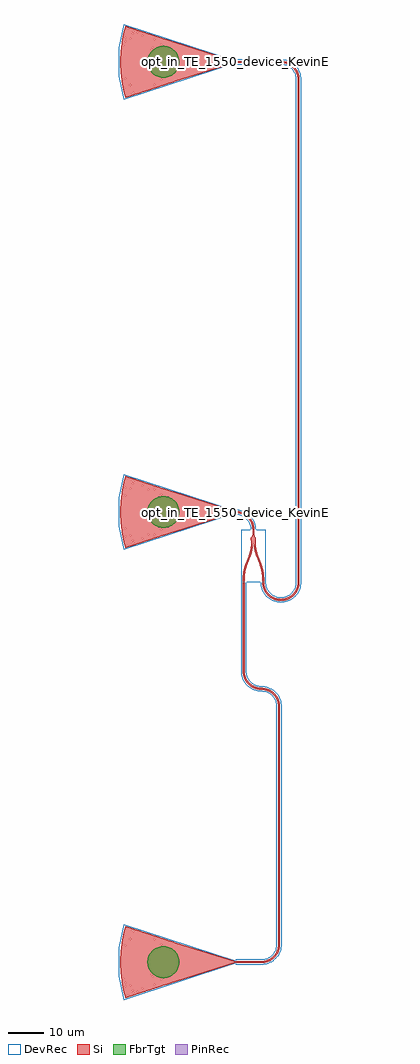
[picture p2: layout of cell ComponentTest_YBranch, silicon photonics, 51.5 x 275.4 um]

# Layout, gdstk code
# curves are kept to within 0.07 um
from math import pi, radians
import gdstk
lib = gdstk.Library(unit=1e-6, precision=1e-09)
def R(c, l, rs):  # rectangles x0, y0, x1, y1
    for r in rs: c.add(gdstk.rectangle(r[:2], r[2:], *l))
def P(c, l, *ps):  # polygons
    for p in ps: c.add(gdstk.Polygon(p, *l))
Si = (1, 0)
PinRec = (1, 10)
DevRec = (68, 0)
FbrTgt = (81, 0)

te1550_subgc_neg31_oxide = lib.new_cell('TE1550_SubGC_neg31_oxide')
P(te1550_subgc_neg31_oxide, Si, [(-17.556,-5.704),(-17.743,-4.914),(-17.881,-4.233),(-18.016,-3.437),(-18.095,-2.866),(-18.165,-2.237),(-18.222,-1.549),(-18.256,-0.918),(-18.274,-0.115),(-18.264,0.689),(-18.233,1.377),(-18.176,2.122),(-18.095,2.866),(-18.016,3.437),(-17.881,4.233),(-17.743,4.914),(-17.556,5.704),(-17.481,5.68),(-17.643,5.006),(-17.784,4.329),(-17.922,3.536),(-18.032,2.74),(-18.104,2.056),(-18.148,1.486),(-18.186,0.686),(-18.196,0.114),(-18.189,-0.572),(-18.165,-1.2),(-18.123,-1.828),(-18.058,-2.512),(-17.948,-3.365),(-17.826,-4.102),(-17.668,-4.893),(-17.481,-5.68)],
  [(-17.906,-5.818),(-18.207,-4.492),(-18.452,-2.982),(-18.601,-1.405),(-18.643,-0.117),(-18.601,1.405),(-18.452,2.982),(-18.207,4.492),(-17.906,5.818),(-17.659,5.738),(-17.932,4.544),(-18.188,2.998),(-18.338,1.443),(-18.383,0.116),(-18.338,-1.443),(-18.188,-2.998),(-17.932,-4.544),(-17.659,-5.738)],
  [(-18.084,-5.876),(-18.24,-5.237),(-18.4,-4.479),(-18.525,-3.776),(-18.629,-3.071),(-18.717,-2.305),(-18.772,-1.656),(-18.811,-0.946),(-18.83,-0.118),(-18.823,0.592),(-18.791,1.36),(-18.739,2.069),(-18.644,2.953),(-18.544,3.658),(-18.4,4.479),(-18.24,5.237),(-18.084,5.876),(-18.01,5.852),(-18.204,5.041),(-18.368,4.227),(-18.503,3.409),(-18.609,2.589),(-18.713,1.354),(-18.745,0.589),(-18.752,0.118),(-18.745,-0.589),(-18.713,-1.354),(-18.609,-2.589),(-18.503,-3.409),(-18.368,-4.227),(-18.204,-5.041),(-18.01,-5.852)],
  [(-18.435,-5.99),(-18.77,-4.506),(-19.001,-3.071),(-19.135,-1.748),(-19.199,-0.121),(-19.159,1.387),(-19.001,3.071),(-18.77,4.506),(-18.435,5.99),(-18.188,5.91),(-18.517,4.445),(-18.744,3.029),(-18.896,1.427),(-18.939,0.119),(-18.896,-1.427),(-18.759,-2.911),(-18.517,-4.445),(-18.188,-5.91)],
  [(-18.613,-6.048),(-18.815,-5.211),(-18.963,-4.49),(-19.099,-3.705),(-19.201,-2.979),(-19.269,-2.373),(-19.338,-1.522),(-19.369,-0.913),(-19.386,-0.122),(-19.377,0.67),(-19.349,1.339),(-19.286,2.191),(-19.201,2.979),(-19.099,3.705),(-18.963,4.49),(-18.815,5.211),(-18.613,6.048),(-18.539,6.024),(-18.713,5.309),(-18.876,4.532),(-19.013,3.751),(-19.131,2.907),(-19.203,2.242),(-19.264,1.455),(-19.291,0.91),(-19.308,0.121),(-19.299,-0.667),(-19.271,-1.334),(-19.239,-1.819),(-19.166,-2.605),(-19.076,-3.329),(-18.91,-4.352),(-18.753,-5.13),(-18.539,-6.024)],
  [(-18.964,-6.162),(-19.262,-4.881),(-19.533,-3.283),(-19.689,-1.799),(-19.755,-0.124),(-19.717,1.365),(-19.573,2.974),(-19.334,4.513),(-18.964,6.162),(-18.717,6.081),(-19.046,4.636),(-19.301,3.057),(-19.43,1.775),(-19.495,0.122),(-19.454,-1.408),(-19.301,-3.057),(-19.046,-4.636),(-18.717,-6.081)],
  [(-19.142,-6.22),(-19.337,-5.421),(-19.48,-4.742),(-19.625,-3.936),(-19.726,-3.251),(-19.808,-2.566),(-19.884,-1.691),(-19.924,-0.94),(-19.942,-0.125),(-19.934,0.626),(-19.9,1.44),(-19.833,2.316),(-19.758,3.002),(-19.635,3.874),(-19.516,4.556),(-19.337,5.421),(-19.142,6.22),(-19.068,6.195),(-19.289,5.277),(-19.44,4.538),(-19.587,3.673),(-19.696,2.866),(-19.772,2.12),(-19.822,1.435),(-19.853,0.749),(-19.864,0.125),(-19.853,-0.749),(-19.822,-1.435),(-19.772,-2.12),(-19.696,-2.866),(-19.587,-3.673),(-19.44,-4.538),(-19.289,-5.277),(-19.068,-6.195)],
  [(-19.493,-6.334),(-19.839,-4.829),(-20.107,-3.185),(-20.256,-1.658),(-20.311,-0.128),(-20.268,1.467),(-20.107,3.185),(-19.839,4.829),(-19.493,6.334),(-19.246,6.253),(-19.574,4.829),(-19.842,3.207),(-19.997,1.637),(-20.051,0.126),(-20.005,-1.511),(-19.866,-3.019),(-19.622,-4.581),(-19.246,-6.253)],
  [(-19.671,-6.391),(-19.843,-5.697),(-20.008,-4.937),(-20.149,-4.173),(-20.283,-3.278),(-20.379,-2.444),(-20.438,-1.738),(-20.482,-0.901),(-20.498,-0.129),(-20.482,0.901),(-20.438,1.738),(-20.379,2.444),(-20.283,3.278),(-20.149,4.173),(-20.008,4.937),(-19.843,5.697),(-19.671,6.391),(-19.597,6.367),(-19.797,5.55),(-20.005,4.538),(-20.153,3.648),(-20.246,2.946),(-20.325,2.179),(-20.373,1.539),(-20.404,0.898),(-20.42,0.128),(-20.412,-0.641),(-20.384,-1.347),(-20.336,-2.051),(-20.261,-2.819),(-20.153,-3.648),(-20.017,-4.474),(-19.825,-5.424),(-19.597,-6.367)],
  [(-20.022,-6.505),(-20.392,-4.896),(-20.656,-3.272),(-20.81,-1.704),(-20.867,-0.131),(-20.81,1.704),(-20.656,3.272),(-20.392,4.896),(-20.022,6.505),(-19.774,6.425),(-20.139,4.835),(-20.382,3.36),(-20.542,1.812),(-20.607,0.129),(-20.567,-1.424),(-20.399,-3.231),(-20.139,-4.835),(-19.774,-6.425)],
  [(-20.199,-6.563),(-20.437,-5.591),(-20.599,-4.809),(-20.726,-4.089),(-20.832,-3.367),(-20.931,-2.511),(-20.992,-1.785),(-21.04,-0.86),(-21.054,-0.132),(-21.044,0.728),(-21.001,1.653),(-20.931,2.511),(-20.849,3.235),(-20.726,4.089),(-20.599,4.809),(-20.437,5.591),(-20.199,6.563),(-20.125,6.539),(-20.347,5.635),(-20.523,4.791),(-20.67,3.943),(-20.804,2.961),(-20.878,2.239),(-20.923,1.647),(-20.962,0.857),(-20.976,0.132),(-20.966,-0.725),(-20.935,-1.449),(-20.878,-2.239),(-20.804,-2.961),(-20.67,-3.943),(-20.523,-4.791),(-20.347,-5.635),(-20.125,-6.539)],
  [(-20.55,-6.677),(-20.906,-5.158),(-21.205,-3.359),(-21.355,-1.883),(-21.423,-0.135),(-21.373,1.615),(-21.205,3.359),(-20.906,5.158),(-20.55,6.677),(-20.303,6.597),(-20.705,4.833),(-20.957,3.252),(-21.105,1.728),(-21.163,0.133),(-21.105,-1.728),(-20.957,-3.252),(-20.705,-4.833),(-20.303,-6.597)],
  [(-20.728,-6.735),(-20.912,-6.004),(-21.101,-5.136),(-21.249,-4.331),(-21.372,-3.523),(-21.483,-2.577),(-21.546,-1.832),(-21.593,-0.95),(-21.61,-0.136),(-21.593,0.95),(-21.555,1.696),(-21.483,2.577),(-21.39,3.388),(-21.249,4.331),(-21.101,5.136),(-20.912,6.004),(-20.728,6.735),(-20.654,6.711),(-20.868,5.85),(-21.025,5.118),(-21.195,4.181),(-21.33,3.241),(-21.412,2.5),(-21.473,1.758),(-21.515,0.947),(-21.532,0.135),(-21.525,-0.609),(-21.497,-1.352),(-21.448,-2.095),(-21.37,-2.904),(-21.237,-3.913),(-21.077,-4.85),(-20.868,-5.85),(-20.654,-6.711)],
  [(-21.079,-6.849),(-21.432,-5.359),(-21.736,-3.583),(-21.923,-1.725),(-21.979,-0.138),(-21.923,1.725),(-21.772,3.308),(-21.473,5.155),(-21.079,6.849),(-20.832,6.769),(-21.207,5.162),(-21.47,3.608),(-21.664,1.705),(-21.719,0.136),(-21.664,-1.705),(-21.515,-3.269),(-21.207,-5.162),(-20.832,-6.769)],
  [(-21.257,-6.907),(-21.494,-5.953),(-21.655,-5.199),(-21.817,-4.304),(-21.93,-3.544),(-22.042,-2.574),(-22.105,-1.81),(-22.146,-1.044),(-22.166,-0.139),(-22.159,0.627),(-22.114,1.67),(-22.042,2.574),(-21.957,3.336),(-21.817,4.304),(-21.655,5.199),(-21.494,5.953),(-21.257,6.907),(-21.183,6.883),(-21.419,5.932),(-21.606,5.044),(-21.773,4.083),(-21.888,3.256),(-21.971,2.495),(-22.036,1.665),(-22.073,0.902),(-22.088,0.139),(-22.081,-0.624),(-22.052,-1.387),(-22.001,-2.149),(-21.905,-3.117),(-21.773,-4.083),(-21.606,-5.044),(-21.419,-5.932),(-21.183,-6.883)],
  [(-21.608,-7.021),(-21.985,-5.425),(-22.294,-3.603),(-22.482,-1.698),(-22.535,-0.142),(-22.482,1.698),(-22.294,3.603),(-21.985,5.425),(-21.608,7.021),(-21.361,6.941),(-21.761,5.224),(-22.028,3.631),(-22.218,1.749),(-22.275,0.14),(-22.227,-1.609),(-22.073,-3.283),(-21.788,-5.086),(-21.361,-6.941)],
  [(-21.786,-7.079),(-21.964,-6.381),(-22.167,-5.469),(-22.302,-4.765),(-22.469,-3.704),(-22.565,-2.923),(-22.649,-1.997),(-22.704,-0.999),(-22.722,-0.143),(-22.713,0.714),(-22.677,1.57),(-22.601,2.567),(-22.488,3.562),(-22.374,4.341),(-22.195,5.329),(-22.03,6.101),(-21.786,7.079),(-21.712,7.055),(-21.922,6.22),(-22.161,5.1),(-22.308,4.256),(-22.447,3.267),(-22.53,2.487),(-22.586,1.778),(-22.626,0.996),(-22.644,0.142),(-22.635,-0.711),(-22.595,-1.635),(-22.53,-2.487),(-22.447,-3.267),(-22.308,-4.256),(-22.161,-5.1),(-21.922,-6.22),(-21.712,-7.055)],
  [(-22.137,-7.193),(-22.54,-5.486),(-22.843,-3.692),(-23.011,-2.102),(-23.091,-0.145),(-23.045,1.595),(-22.862,3.547),(-22.54,5.486),(-22.137,7.193),(-21.89,7.112),(-22.287,5.425),(-22.596,3.579),(-22.777,1.721),(-22.831,0.143),(-22.777,-1.721),(-22.596,-3.579),(-22.287,-5.425),(-21.89,-7.112)],
  [(-22.315,-7.25),(-22.549,-6.321),(-22.736,-5.458),(-22.895,-4.592),(-23.047,-3.576),(-23.139,-2.776),(-23.218,-1.827),(-23.262,-0.951),(-23.278,-0.146),(-23.262,0.951),(-23.218,1.827),(-23.139,2.776),(-23.047,3.576),(-22.895,4.592),(-22.736,5.458),(-22.549,6.321),(-22.315,7.25),(-22.24,7.226),(-22.457,6.372),(-22.646,5.512),(-22.843,4.432),(-22.979,3.492),(-23.076,2.621),(-23.145,1.748),(-23.184,0.947),(-23.2,0.146),(-23.194,-0.583),(-23.158,-1.53),(-23.102,-2.33),(-23.006,-3.274),(-22.899,-4.071),(-22.73,-5.081),(-22.507,-6.157),(-22.24,-7.226)],
  [(-22.666,-7.364),(-23.095,-5.545),(-23.392,-3.78),(-23.581,-1.93),(-23.647,-0.149),(-23.586,1.856),(-23.421,3.559),(-23.095,5.545),(-22.666,7.364),(-22.418,7.284),(-22.842,5.484),(-23.145,3.666),(-23.311,2.056),(-23.387,0.147),(-23.336,-1.689),(-23.145,-3.666),(-22.842,-5.484),(-22.418,-7.284)],
  [(-22.843,-7.422),(-23.067,-6.545),(-23.262,-5.662),(-23.441,-4.701),(-23.556,-3.959),(-23.691,-2.842),(-23.762,-2.02),(-23.815,-1.048),(-23.834,-0.15),(-23.82,0.898),(-23.782,1.721),(-23.713,2.618),(-23.606,3.587),(-23.441,4.701),(-23.277,5.588),(-23.067,6.545),(-22.843,7.422),(-22.769,7.398),(-22.992,6.523),(-23.201,5.57),(-23.389,4.538),(-23.538,3.501),(-23.642,2.535),(-23.704,1.716),(-23.742,0.895),(-23.756,0.149),(-23.742,-0.895),(-23.704,-1.716),(-23.642,-2.535),(-23.565,-3.278),(-23.401,-4.464),(-23.23,-5.423),(-22.992,-6.523),(-22.769,-7.398)],
  [(-23.194,-7.536),(-23.605,-5.824),(-23.951,-3.793),(-24.135,-1.976),(-24.203,-0.152),(-24.15,1.748),(-23.961,3.718),(-23.605,5.824),(-23.194,7.536),(-22.947,7.456),(-23.368,5.688),(-23.684,3.827),(-23.876,1.955),(-23.943,0.15),(-23.886,-1.804),(-23.704,-3.678),(-23.383,-5.614),(-22.947,-7.456)],
  [(-23.372,-7.594),(-23.602,-6.696),(-23.802,-5.793),(-23.96,-4.962),(-24.115,-3.975),(-24.219,-3.137),(-24.316,-2.067),(-24.373,-0.996),(-24.39,-0.153),(-24.373,0.996),(-24.316,2.067),(-24.219,3.137),(-24.115,3.975),(-23.96,4.962),(-23.802,5.793),(-23.602,6.696),(-23.372,7.594),(-23.298,7.57),(-23.562,6.525),(-23.801,5.399),(-23.971,4.417),(-24.088,3.583),(-24.188,2.67),(-24.249,1.908),(-24.295,0.993),(-24.312,0.153),(-24.3,-0.84),(-24.263,-1.68),(-24.195,-2.594),(-24.088,-3.583),(-23.971,-4.417),(-23.801,-5.399),(-23.562,-6.525),(-23.298,-7.57)],
  [(-23.723,-7.708),(-24.145,-5.957),(-24.479,-4.035),(-24.678,-2.176),(-24.759,-0.156),(-24.709,1.71),(-24.5,3.88),(-24.145,5.957),(-23.723,7.708),(-23.476,7.628),(-23.908,5.819),(-24.233,3.916),(-24.43,2),(-24.499,0.154),(-24.43,-2),(-24.233,-3.916),(-23.908,-5.819),(-23.476,-7.628)],
  [(-23.901,-7.766),(-24.137,-6.848),(-24.358,-5.848),(-24.518,-4.997),(-24.674,-3.987),(-24.779,-3.13),(-24.87,-2.115),(-24.916,-1.332),(-24.946,-0.157),(-24.931,0.94),(-24.891,1.802),(-24.803,2.896),(-24.695,3.832),(-24.531,4.92),(-24.358,5.848),(-24.137,6.848),(-23.901,7.766),(-23.827,7.742),(-24.098,6.674),(-24.313,5.676),(-24.493,4.672),(-24.638,3.665),(-24.733,2.809),(-24.803,1.952),(-24.848,1.094),(-24.868,0.156),(-24.858,-0.781),(-24.818,-1.718),(-24.733,-2.809),(-24.638,-3.665),(-24.493,-4.672),(-24.313,-5.676),(-24.098,-6.674),(-23.827,-7.742)],
  [(-24.252,-7.88),(-24.717,-5.934),(-25.049,-3.967),(-25.232,-2.225),(-25.315,-0.159),(-25.259,1.828),(-25.07,3.809),(-24.717,5.934),(-24.252,7.88),(-24.005,7.8),(-24.464,5.873),(-24.782,4.005),(-24.973,2.202),(-25.055,0.157),(-25.009,-1.652),(-24.803,-3.848),(-24.464,-5.873),(-24.005,-7.8)],
  [(-24.43,-7.938),(-24.709,-6.843),(-24.866,-6.135),(-25.049,-5.187),(-25.234,-3.997),(-25.339,-3.12),(-25.424,-2.162),(-25.478,-1.202),(-25.502,-0.16),(-25.489,0.881),(-25.435,2.002),(-25.339,3.12),(-25.234,3.997),(-25.049,5.187),(-24.866,6.135),(-24.709,6.843),(-24.43,7.938),(-24.356,7.914),(-24.634,6.822),(-24.839,5.881),(-25,5.014),(-25.178,3.826),(-25.278,2.952),(-25.352,2.075),(-25.397,1.278),(-25.424,0.16),(-25.409,-0.958),(-25.377,-1.677),(-25.293,-2.792),(-25.198,-3.667),(-25.052,-4.697),(-24.839,-5.881),(-24.634,-6.822),(-24.356,-7.914)],
  [(-24.781,-8.052),(-25.241,-6.144),(-25.576,-4.216),(-25.803,-2.031),(-25.871,-0.163),(-25.803,2.031),(-25.609,3.974),(-25.274,5.984),(-24.781,8.052),(-24.533,7.971),(-24.972,6.161),(-25.308,4.253),(-25.544,2.01),(-25.611,0.161),(-25.544,-2.01),(-25.352,-3.934),(-25.021,-5.924),(-24.533,-7.971)],
  [(-24.959,-8.11),(-25.187,-7.232),(-25.423,-6.188),(-25.635,-5.057),(-25.772,-4.165),(-25.891,-3.188),(-25.984,-2.127),(-26.03,-1.31),(-26.058,-0.164),(-26.045,0.9),(-25.995,1.964),(-25.891,3.188),(-25.794,4.002),(-25.635,5.057),(-25.423,6.188),(-25.187,7.232),(-24.959,8.11),(-24.884,8.085),(-25.15,7.051),(-25.38,6.009),(-25.572,4.961),(-25.738,3.828),(-25.846,2.853),(-25.917,1.958),(-25.967,0.898),(-25.98,0.163),(-25.967,-0.898),(-25.932,-1.713),(-25.868,-2.609),(-25.768,-3.585),(-25.624,-4.638),(-25.412,-5.848),(-25.207,-6.811),(-24.884,-8.085)],
  [(-25.31,-8.224),(-25.815,-6.112),(-26.136,-4.224),(-26.357,-2.074),(-26.427,-0.166),(-26.368,1.909),(-26.18,3.894),(-25.815,6.112),(-25.31,8.224),(-25.062,8.143),(-25.512,6.295),(-25.868,4.264),(-26.098,2.054),(-26.167,0.164),(-26.123,-1.644),(-25.923,-3.856),(-25.562,-6.052),(-25.062,-8.143)],
  [(-25.487,-8.281),(-25.761,-7.222),(-25.946,-6.402),(-26.152,-5.33),(-26.321,-4.254),(-26.451,-3.173),(-26.532,-2.256),(-26.589,-1.254),(-26.614,-0.167),(-26.598,1.003),(-26.538,2.172),(-26.451,3.173),(-26.321,4.254),(-26.152,5.33),(-25.946,6.402),(-25.761,7.222),(-25.487,8.281),(-25.413,8.257),(-25.686,7.201),(-25.921,6.137),(-26.118,5.067),(-26.288,3.91),(-26.374,3.164),(-26.466,2.083),(-26.511,1.25),(-26.536,0.167),(-26.525,-0.834),(-26.482,-1.833),(-26.406,-2.831),(-26.288,-3.91),(-26.118,-5.067),(-25.921,-6.137),(-25.686,-7.201),(-25.413,-8.257)],
  [(-25.838,-8.395),(-26.339,-6.323),(-26.685,-4.312),(-26.887,-2.456),(-26.983,-0.17),(-26.917,2.033),(-26.708,4.144),(-26.356,6.24),(-25.838,8.395),(-25.591,8.315),(-26.086,6.263),(-26.44,4.188),(-26.658,2.014),(-26.723,0.168),(-26.658,-2.014),(-26.44,-4.188),(-26.086,-6.263),(-25.591,-8.315)],
  [(-26.016,-8.453),(-26.256,-7.539),(-26.503,-6.451),(-26.697,-5.441),(-26.858,-4.427),(-26.976,-3.494),(-27.086,-2.303),(-27.144,-1.28),(-27.17,-0.085),(-27.156,0.939),(-27.098,2.133),(-27.012,3.154),(-26.893,4.173),(-26.726,5.272),(-26.538,6.283),(-26.256,7.539),(-26.016,8.453),(-25.942,8.429),(-26.261,7.184),(-26.479,6.181),(-26.664,5.173),(-26.838,3.992),(-26.943,3.06),(-27.026,2.042),(-27.078,0.936),(-27.092,0.085),(-27.078,-0.936),(-27.026,-2.042),(-26.943,-3.06),(-26.838,-3.992),(-26.664,-5.173),(-26.479,-6.181),(-26.261,-7.184),(-25.942,-8.429)],
  [(-26.367,-8.567),(-26.897,-6.368),(-27.246,-4.315),(-27.466,-2.162),(-27.539,-0.087),(-27.466,2.162),(-27.246,4.315),(-26.897,6.368),(-26.367,8.567),(-26.12,8.487),(-26.644,6.308),(-26.989,4.275),(-27.218,1.97),(-27.279,0.086),(-27.218,-1.97),(-26.989,-4.275),(-26.644,-6.308),(-26.12,-8.487)],
  [(-26.545,-8.625),(-26.832,-7.522),(-27.079,-6.411),(-27.286,-5.294),(-27.442,-4.258),(-27.573,-3.132),(-27.658,-2.089),(-27.712,-0.958),(-27.726,-0.087),(-27.712,0.958),(-27.658,2.089),(-27.573,3.132),(-27.442,4.258),(-27.286,5.294),(-27.079,6.411),(-26.832,7.522),(-26.545,8.625),(-26.471,8.601),(-26.777,7.416),(-27.003,6.393),(-27.195,5.365),(-27.365,4.246),(-27.487,3.209),(-27.586,1.997),(-27.634,0.955),(-27.648,0.087),(-27.634,-0.955),(-27.586,-1.997),(-27.52,-2.863),(-27.42,-3.815),(-27.265,-4.935),(-27.071,-6.051),(-26.817,-7.246),(-26.63,-8.01),(-26.471,-8.601)],
  [(-26.896,-8.739),(-27.402,-6.67),(-27.783,-4.49),(-28.014,-2.293),(-28.095,-0.088),(-28.026,2.117),(-27.807,4.315),(-27.438,6.496),(-26.896,8.739),(-26.649,8.659),(-27.185,6.436),(-27.55,4.275),(-27.761,2.185),(-27.835,0.087),(-27.761,-2.185),(-27.55,-4.275),(-27.185,-6.436),(-26.649,-8.659)],
  [(-27.074,-8.797),(-27.346,-7.759),(-27.602,-6.627),(-27.802,-5.576),(-27.955,-4.608),(-28.098,-3.46),(-28.194,-2.397),(-28.255,-1.332),(-28.282,-0.089),(-28.265,1.066),(-28.218,2.042),(-28.134,3.106),(-28.015,4.167),(-27.832,5.4),(-27.62,6.539),(-27.346,7.759),(-27.074,8.797),(-27,8.773),(-27.292,7.651),(-27.544,6.521),(-27.77,5.297),(-27.949,4.067),(-28.048,3.186),(-28.129,2.214),(-28.184,1.152),(-28.204,0.089),(-28.187,-1.063),(-28.146,-1.948),(-28.073,-2.921),(-27.949,-4.067),(-27.77,-5.297),(-27.544,-6.521),(-27.292,-7.651),(-27,-8.773)],
  [(-27.425,-8.911),(-27.979,-6.624),(-28.344,-4.489),(-28.568,-2.339),(-28.651,-0.09),(-28.568,2.339),(-28.344,4.489),(-27.979,6.624),(-27.425,8.911),(-27.177,8.83),(-27.708,6.652),(-28.075,4.537),(-28.309,2.317),(-28.391,0.089),(-28.309,-2.317),(-28.075,-4.537),(-27.708,-6.652),(-27.177,-8.83)],
  [(-27.603,-8.969),(-27.881,-7.91),(-28.124,-6.845),(-28.347,-5.685),(-28.529,-4.518),(-28.678,-3.257),(-28.761,-2.264),(-28.814,-1.268),(-28.838,-0.091),(-28.826,0.906),(-28.761,2.264),(-28.678,3.257),(-28.529,4.518),(-28.347,5.685),(-28.124,6.845),(-27.881,7.91),(-27.603,8.969),(-27.528,8.944),(-27.806,7.889),(-28.085,6.649),(-28.316,5.402),(-28.476,4.327),(-28.582,3.428),(-28.677,2.348),(-28.736,1.265),(-28.76,0.09),(-28.748,-0.903),(-28.695,-2.077),(-28.609,-3.158),(-28.499,-4.147),(-28.331,-5.312),(-28.121,-6.472),(-27.87,-7.624),(-27.528,-8.944)],
  [(-27.953,-9.083),(-28.52,-6.752),(-28.893,-4.576),(-29.135,-2.201),(-29.207,-0.092),(-29.135,2.201),(-28.918,4.394),(-28.52,6.752),(-27.953,9.083),(-27.706,9.002),(-28.23,6.871),(-28.624,4.626),(-28.863,2.363),(-28.947,0.091),(-28.887,-2),(-28.649,-4.445),(-28.23,-6.871),(-27.706,-9.002)],
  [(-28.131,-9.14),(-28.416,-8.062),(-28.645,-7.068),(-28.86,-5.977),(-29.078,-4.605),(-29.221,-3.412),(-29.315,-2.307),(-29.373,-1.2),(-29.394,-0.092),(-29.373,1.2),(-29.315,2.307),(-29.221,3.412),(-29.078,4.605),(-28.86,5.977),(-28.645,7.068),(-28.416,8.062),(-28.131,9.14),(-28.057,9.116),(-28.363,7.951),(-28.663,6.596),(-28.892,5.323),(-29.061,4.136),(-29.179,3.036),(-29.255,2.025),(-29.301,1.013),(-29.316,0.092),(-29.301,-1.013),(-29.255,-2.025),(-29.179,-3.036),(-29.061,-4.136),(-28.892,-5.323),(-28.663,-6.596),(-28.363,-7.951),(-28.057,-9.116)],
  [(-28.482,-9.254),(-29.003,-7.156),(-29.416,-4.849),(-29.683,-2.336),(-29.763,-0.094),(-29.683,2.336),(-29.455,4.57),(-29.042,6.972),(-28.482,9.254),(-28.235,9.174),(-28.77,7.003),(-29.173,4.714),(-29.424,2.316),(-29.503,0.093),(-29.424,-2.316),(-29.173,-4.714),(-28.77,-7.003),(-28.235,-9.174)],
  [(-28.66,-9.312),(-28.928,-8.306),(-29.224,-7.016),(-29.421,-5.996),(-29.601,-4.879),(-29.733,-3.851),(-29.863,-2.445),(-29.925,-1.317),(-29.95,-0.094),(-29.937,0.941),(-29.882,2.163),(-29.792,3.289),(-29.64,4.599),(-29.437,5.904),(-29.224,7.016),(-28.928,8.306),(-28.66,9.312),(-28.586,9.288),(-28.898,8.101),(-29.148,6.998),(-29.393,5.703),(-29.563,4.587),(-29.696,3.467),(-29.798,2.251),(-29.847,1.314),(-29.872,0.094),(-29.862,-0.845),(-29.798,-2.251),(-29.696,-3.467),(-29.563,-4.587),(-29.393,-5.703),(-29.148,-6.998),(-28.898,-8.101),(-28.586,-9.288)],
  [(-29.011,-9.426),(-29.563,-7.196),(-29.965,-4.939),(-30.237,-2.38),(-30.319,-0.095),(-30.25,2.19),(-30.017,4.561),(-29.602,7.008),(-29.011,9.426),(-28.764,9.346),(-29.33,7.041),(-29.735,4.709),(-29.978,2.359),(-30.059,0.094),(-29.978,-2.359),(-29.735,-4.709),(-29.33,-7.041),(-28.764,-9.346)],
  [(-29.189,-9.484),(-29.554,-8.085),(-29.784,-7.052),(-29.999,-5.918),(-30.163,-4.874),(-30.295,-3.827),(-30.417,-2.49),(-30.484,-1.246),(-30.506,-0.096),(-30.484,1.246),(-30.417,2.49),(-30.295,3.827),(-30.163,4.874),(-29.999,5.918),(-29.784,7.052),(-29.554,8.085),(-29.189,9.484),(-29.115,9.46),(-29.456,8.158),(-29.708,7.034),(-29.97,5.62),(-30.125,4.577),(-30.248,3.532),(-30.346,2.388),(-30.406,1.242),(-30.428,0.096),(-30.406,-1.242),(-30.346,-2.388),(-30.248,-3.532),(-30.125,-4.577),(-29.97,-5.62),(-29.708,-7.034),(-29.456,-8.158),(-29.115,-9.46)],
  [(-29.54,-9.598),(-30.143,-7.137),(-30.554,-4.741),(-30.798,-2.327),(-30.875,-0.097),(-30.798,2.327),(-30.554,4.741),(-30.143,7.137),(-29.54,9.598),(-29.293,9.518),(-29.89,7.077),(-30.284,4.796),(-30.539,2.307),(-30.615,0.096),(-30.539,-2.307),(-30.284,-4.796),(-29.89,-7.077),(-29.293,-9.518)],
  [(-29.718,-9.656),(-29.997,-8.613),(-30.285,-7.371),(-30.493,-6.315),(-30.712,-4.963),(-30.857,-3.8),(-30.964,-2.633),(-31.036,-1.366),(-31.062,-0.098),(-31.046,1.073),(-30.991,2.243),(-30.897,3.411),(-30.752,4.673),(-30.561,5.929),(-30.345,7.084),(-30.044,8.422),(-29.718,9.656),(-29.643,9.632),(-29.969,8.401),(-30.269,7.066),(-30.501,5.818),(-30.7,4.468),(-30.829,3.306),(-30.907,2.335),(-30.965,1.168),(-30.984,0.097),(-30.965,-1.168),(-30.907,-2.335),(-30.829,-3.306),(-30.7,-4.468),(-30.501,-5.818),(-30.269,-7.066),(-29.969,-8.401),(-29.643,-9.632)],
  [(-30.069,-9.77),(-30.664,-7.362),(-31.09,-4.924),(-31.346,-2.467),(-31.431,-0.099),(-31.346,2.467),(-31.09,4.924),(-30.664,7.362),(-30.069,9.77),(-29.821,9.69),(-30.411,7.301),(-30.833,4.883),(-31.093,2.349),(-31.171,0.098),(-31.093,-2.349),(-30.833,-4.883),(-30.411,-7.301),(-29.821,-9.69)],
  [(-30.246,-9.828),(-30.603,-8.475),(-30.866,-7.308),(-31.107,-6.035),(-31.288,-4.855),(-31.43,-3.67),(-31.539,-2.382),(-31.595,-1.291),(-31.618,-0.099),(-31.595,1.291),(-31.539,2.382),(-31.43,3.67),(-31.288,4.855),(-31.107,6.035),(-30.866,7.308),(-30.603,8.475),(-30.246,9.828),(-30.172,9.804),(-30.528,8.455),(-30.77,7.387),(-30.907,6.705),(-31.047,5.922),(-31.211,4.843),(-31.342,3.759),(-31.461,2.377),(-31.517,1.288),(-31.54,0.099),(-31.529,-0.892),(-31.474,-2.179),(-31.391,-3.266),(-31.25,-4.548),(-31.047,-5.922),(-30.83,-7.095),(-30.528,-8.455),(-30.172,-9.804)],
  [(-30.597,-9.942),(-31.225,-7.393),(-31.625,-5.111),(-31.893,-2.611),(-31.987,-0.1),(-31.907,2.41),(-31.653,4.911),(-31.225,7.393),(-30.597,9.942),(-30.35,9.861),(-30.931,7.529),(-31.396,4.872),(-31.641,2.49),(-31.727,0.1),(-31.641,-2.49),(-31.396,-4.872),(-30.931,-7.529),(-30.35,-9.861)],
  [(-30.775,-9.999),(-31.09,-8.821),(-31.344,-7.734),(-31.564,-6.64),(-31.795,-5.241),(-31.95,-4.036),(-32.072,-2.727),(-32.129,-1.819),(-32.154,-1.213),(-32.174,-0.101),(-32.154,1.213),(-32.1,2.323),(-32.012,3.432),(-31.851,4.84),(-31.686,5.941),(-31.428,7.337),(-31.139,8.624),(-30.775,9.999),(-30.701,9.975),(-31.015,8.8),(-31.18,8.11),(-31.352,7.319),(-31.593,6.027),(-31.774,4.828),(-31.915,3.625),(-32.009,2.519),(-32.069,1.411),(-32.096,0.101),(-32.076,-1.21),(-32.009,-2.519),(-31.915,-3.625),(-31.774,-4.828),(-31.593,-6.027),(-31.352,-7.319),(-31.18,-8.11),(-31.015,-8.8),(-30.701,-9.975)],
  [(-31.126,-10.114),(-31.724,-7.722),(-32.174,-5.199),(-32.447,-2.656),(-32.543,-0.102),(-32.519,1.329),(-32.447,2.656),(-32.174,5.199),(-31.724,7.722),(-31.126,10.114),(-30.879,10.033),(-31.471,7.66),(-31.917,5.158),(-32.188,2.635),(-32.283,0.101),(-32.202,-2.433),(-31.959,-4.856),(-31.534,-7.361),(-31.244,-8.653),(-30.879,-10.033)],
  [(-17.378,-5.646),(-17.903,-2.893),(-18.087,-0.114),(-17.924,2.724),(-17.378,5.646),(0,0.25),(0,-0.25)])
te1550_subgc_neg31_oxide.add(gdstk.Label('Ref: Yun Wang, Optics Express, 08/2014', (-33,0), layer=10, texttype=0))
te1550_subgc_neg31_oxide.add(gdstk.Label('http://dx.doi.org/10.1364/OE.22.020652', (-33,-2), layer=10, texttype=0))
te1550_subgc_neg31_oxide.add(gdstk.Label('TE 1550 -31 deg', (-33,2), layer=10, texttype=0))

ebeam_gc_te1550 = lib.new_cell('ebeam_gc_te1550')
R(ebeam_gc_te1550, Si, [(-0.001,-0.001,0.001,0.001)])
P(ebeam_gc_te1550, DevRec, [(-31.6,-10.7),(-33,-4),(-33,4),(-31.6,10.7),(0,0.4),(0,-0.4)])
P(ebeam_gc_te1550, FbrTgt, [(-20.621,-4.5),(-21.495,-4.37),(-22.326,-4.073),(-23.084,-3.619),(-23.738,-3.026),(-24.264,-2.316),(-24.642,-1.518),(-24.857,-0.661),(-24.9,0.221),(-24.77,1.095),(-24.473,1.926),(-24.019,2.684),(-23.426,3.338),(-22.716,3.864),(-21.918,4.242),(-21.061,4.457),(-20.179,4.5),(-19.305,4.37),(-18.474,4.073),(-17.716,3.619),(-17.062,3.026),(-16.536,2.316),(-16.158,1.518),(-15.943,0.661),(-15.9,-0.221),(-16.03,-1.095),(-16.327,-1.926),(-16.781,-2.684),(-17.374,-3.338),(-18.084,-3.864),(-18.882,-4.242),(-19.739,-4.457)])
ebeam_gc_te1550.add(gdstk.FlexPath([(-0.05,0),(0.05,0)], 0.5, ends="flush", simple_path=True, layer=1, datatype=10))  # PinRec
ebeam_gc_te1550.add(gdstk.Reference(te1550_subgc_neg31_oxide, (0,0)))
ebeam_gc_te1550.add(gdstk.Label('opt1', (0,0), layer=1, texttype=10))
ebeam_gc_te1550.add(gdstk.Label('Component=ebeam_gc_te1550', (-28,-5), layer=68, texttype=0))
ebeam_gc_te1550.add(gdstk.Label('Lumerical_INTERCONNECT_library=Design kits/ebeam', (-29,-7), layer=68, texttype=0))

waveguide_56 = lib.new_cell('Waveguide$56')
P(waveguide_56, Si, [(-305,-254.25),(-305,-253.75),(-297.614,-253.748),(-296.807,-253.655),(-295.901,-253.376),(-294.743,-252.678),(-293.83,-251.681),(-293.233,-250.468),(-293.002,-249.136),(-293.017,-181.484),(-293.193,-180.552),(-293.549,-179.673),(-294.072,-178.883),(-294.743,-178.212),(-295.533,-177.689),(-296.282,-177.373),(-297.073,-177.189),(-298.938,-177.004),(-299.793,-176.726),(-300.462,-176.386),(-301.188,-175.858),(-301.908,-175.096),(-302.461,-174.206),(-302.828,-173.225),(-303,-171.89),(-303,-146.8),(-302.5,-146.8),(-302.5,-171.89),(-302.307,-173.228),(-302.013,-173.986),(-301.512,-174.79),(-300.962,-175.39),(-300.202,-175.958),(-299.599,-176.266),(-298.826,-176.516),(-297.003,-176.693),(-296.128,-176.897),(-295.168,-177.318),(-294.312,-177.922),(-293.592,-178.684),(-293.039,-179.574),(-292.672,-180.555),(-292.519,-181.44),(-292.502,-249.15),(-292.577,-249.896),(-292.757,-250.622),(-293.039,-251.316),(-293.416,-251.963),(-293.882,-252.55),(-294.427,-253.064),(-295.038,-253.496),(-295.707,-253.836),(-296.562,-254.114),(-297.451,-254.242)])
P(waveguide_56, DevRec, [(-305,-254.75),(-305,-253.25),(-297.379,-253.234),(-295.954,-252.852),(-295.018,-252.255),(-294.268,-251.438),(-293.644,-250.1),(-293.5,-249),(-293.516,-181.519),(-293.644,-180.79),(-294.069,-179.765),(-295.018,-178.635),(-295.625,-178.209),(-296.65,-177.784),(-299.238,-177.444),(-300.625,-176.869),(-301.446,-176.295),(-302.155,-175.586),(-302.962,-174.32),(-303.304,-173.378),(-303.5,-171.891),(-303.5,-146.8),(-302,-146.8),(-302,-171.889),(-301.856,-172.99),(-301.232,-174.328),(-300.756,-174.896),(-299.875,-175.571),(-298.85,-175.996),(-296.752,-176.227),(-295.784,-176.487),(-294.875,-176.911),(-294.054,-177.485),(-293.345,-178.194),(-292.538,-179.46),(-292.196,-180.402),(-292.022,-181.389),(-292,-249),(-292.196,-250.488),(-292.538,-251.43),(-293.04,-252.298),(-294.054,-253.405),(-295.32,-254.212),(-296.262,-254.554),(-297.249,-254.728)])
waveguide_56.add(gdstk.FlexPath([(-304.95,-254),(-305.05,-254)], 0.5, ends="flush", simple_path=True, layer=1, datatype=10))  # PinRec
waveguide_56.add(gdstk.FlexPath([(-302.75,-146.85),(-302.75,-146.75)], 0.5, ends="flush", simple_path=True, layer=1, datatype=10))  # PinRec
waveguide_56.add(gdstk.Label('pin1', (-305,-254), layer=1, texttype=10))
waveguide_56.add(gdstk.Label('pin2', (-302.75,-146.8), layer=1, texttype=10))
waveguide_56.add(gdstk.Label('cellName=Waveguide', (-305,-253.8), layer=68, texttype=0))
waveguide_56.add(gdstk.Label('Lumerical_INTERCONNECT_library=Design kits/EBeam', (-305,-254.1), layer=68, texttype=0))
waveguide_56.add(gdstk.Label('Component=ebeam_wg_integral_1550', (-305,-253.9), layer=68, texttype=0))
waveguide_56.add(gdstk.Label('Spice_param:wg_length=123.009u wg_width=0.500u points="[[-305.0,-254.0],[-292.75,-254.0],[-292.75,-176.89],[-302.75,-176.89],[-302.75,-146.8]]" radius=5.0', (-305,-254), layer=68, texttype=0))
waveguide_56.add(gdstk.Label('Length=123.009u', (-305,-254.2), layer=68, texttype=0))

waveguide_54 = lib.new_cell('Waveguide$54')
P(waveguide_54, Si, [(-300.25,-132),(-300.319,-131.19),(-300.574,-130.276),(-300.932,-129.548),(-301.5,-128.788),(-302.207,-128.158),(-303.151,-127.624),(-304.057,-127.345),(-305,-127.25),(-305,-126.75),(-303.957,-126.855),(-302.957,-127.164),(-302.037,-127.666),(-301.132,-128.45),(-300.428,-129.418),(-299.922,-130.665),(-299.75,-132)])
P(waveguide_54, DevRec, [(-300.749,-132),(-300.894,-130.9),(-301.148,-130.204),(-301.994,-128.994),(-303.204,-128.148),(-303.9,-127.894),(-305,-127.749),(-305,-126.251),(-304.002,-126.337),(-302.57,-126.788),(-301.304,-127.595),(-300.29,-128.702),(-299.788,-129.57),(-299.446,-130.512),(-299.251,-132)])
waveguide_54.add(gdstk.FlexPath([(-304.95,-127),(-305.05,-127)], 0.5, ends="flush", simple_path=True, layer=1, datatype=10))  # PinRec
waveguide_54.add(gdstk.FlexPath([(-300,-131.95),(-300,-132.05)], 0.5, ends="flush", simple_path=True, layer=1, datatype=10))  # PinRec
waveguide_54.add(gdstk.Label('pin1', (-305,-127), layer=1, texttype=10))
waveguide_54.add(gdstk.Label('pin2', (-300,-132), layer=1, texttype=10))
waveguide_54.add(gdstk.Label('cellName=Waveguide', (-305,-126.8), layer=68, texttype=0))
waveguide_54.add(gdstk.Label('Lumerical_INTERCONNECT_library=Design kits/EBeam', (-305,-127.1), layer=68, texttype=0))
waveguide_54.add(gdstk.Label('Component=ebeam_wg_integral_1550', (-305,-126.9), layer=68, texttype=0))
waveguide_54.add(gdstk.Label('Spice_param:wg_length=7.853u wg_width=0.500u points="[[-305.0,-127.0],[-300.0,-127.0],[-300.0,-132.0]]" radius=5.0', (-305,-127), layer=68, texttype=0))
waveguide_54.add(gdstk.Label('Length=7.853u', (-305,-127.2), layer=68, texttype=0))

ebeam_y_1550 = lib.new_cell('ebeam_y_1550')
R(ebeam_y_1550, Si, [(6.5,-3,7.4,-2.5), (-7.4,-0.25,-6,0.25), (6.5,2.5,7.4,3)])
P(ebeam_y_1550, Si, [(6.458,-3),(6.237,-2.997),(6.237,-2.497),(6.5,-2.5),(6.5,-3)],
  [(5.033,-2.908),(3.59,-2.634),(2.265,-2.21),(2.445,-1.744),(3.731,-2.154),(5.033,-2.404)],
  [(6.233,-2.997),(5.033,-2.908),(5.033,-2.404),(6.237,-2.497)],
  [(2.265,-2.21),(0.055,-1.356),(0.235,-0.89),(2.445,-1.744)],
  [(-0.762,-1.076),(-2.334,-0.724),(-4,-0.6),(-4,-0.1),(-2.381,-0.212),(-0.762,-0.555)],
  [(0.055,-1.356),(-0.762,-1.076),(-0.762,-0.555),(0.235,-0.89)],
  [(6.237,2.497),(6.237,2.997),(6.5,3),(6.5,2.5)],
  [(2.445,1.744),(2.267,2.211),(3.59,2.634),(5.033,2.908),(5.033,2.404),(3.731,2.154)],
  [(5.033,2.404),(5.033,2.908),(6.237,2.997),(6.237,2.497)],
  [(0.235,0.89),(0.055,1.356),(2.265,2.21),(2.445,1.744)],
  [(-4,0.1),(-4,0.6),(-2.334,0.724),(-0.762,1.076),(-0.762,0.555),(-2.381,0.212)],
  [(-0.762,0.555),(-0.762,1.076),(0.055,1.356),(0.235,0.89)],
  [(-5.122,-0.662),(-5.442,-0.374),(-5.808,-0.255),(-6,-0.25),(-6,0.25),(-5.817,0.253),(-5.442,0.374),(-5.122,0.662)],
  [(-4.957,-0.703),(-5.122,-0.662),(-5.122,0.662),(-4.538,0.703),(-4,0.6),(-4,-0.6)])
R(ebeam_y_1550, DevRec, [(-7.4,-3.5,7.4,3.5)])
ebeam_y_1550.add(gdstk.FlexPath([(-7.35,0),(-7.45,0)], 0.5, ends="flush", simple_path=True, layer=1, datatype=10))  # PinRec
ebeam_y_1550.add(gdstk.FlexPath([(7.35,2.75),(7.45,2.75)], 0.5, ends="flush", simple_path=True, layer=1, datatype=10))  # PinRec
ebeam_y_1550.add(gdstk.FlexPath([(7.35,-2.75),(7.45,-2.75)], 0.5, ends="flush", simple_path=True, layer=1, datatype=10))  # PinRec
ebeam_y_1550.add(gdstk.Label('Ref: Y Zhang, Opt. Express, 21/1, 2013', (-7.5,-1), layer=10, texttype=0))
ebeam_y_1550.add(gdstk.Label('opt2', (7.4,2.75), layer=1, texttype=10))
ebeam_y_1550.add(gdstk.Label('opt3', (7.4,-2.75), layer=1, texttype=10))
ebeam_y_1550.add(gdstk.Label('opt1', (-7.4,0), layer=1, texttype=10))
ebeam_y_1550.add(gdstk.Label('Component=ebeam_y_1550', (-6,1.5), layer=68, texttype=0))
ebeam_y_1550.add(gdstk.Label('Lumerical_INTERCONNECT_library=Design kits/ebeam', (-6.86,-2.19), layer=68, texttype=0))

waveguide_55 = lib.new_cell('Waveguide$55')
P(waveguide_55, Si, [(-292.25,-152.05),(-293.293,-151.945),(-294.293,-151.636),(-295.213,-151.134),(-295.909,-150.565),(-296.584,-149.763),(-297.086,-148.843),(-297.395,-147.843),(-297.5,-146.8),(-297,-146.8),(-296.905,-147.743),(-296.626,-148.649),(-296.092,-149.593),(-295.462,-150.3),(-294.817,-150.796),(-294.099,-151.176),(-293.193,-151.455),(-292.386,-151.548),(-291.44,-151.481),(-290.654,-151.274),(-289.798,-150.868),(-289.038,-150.3),(-288.488,-149.7),(-287.987,-148.896),(-287.656,-148.007),(-287.517,-147.206),(-287.517,-4.594),(-287.656,-3.793),(-287.874,-3.151),(-288.572,-1.993),(-289.038,-1.5),(-289.683,-1.004),(-290.401,-0.624),(-291.043,-0.406),(-292.25,-0.25),(-305,-0.25),(-305,0.25),(-292.25,0.25),(-290.915,0.078),(-290.207,-0.164),(-289.538,-0.504),(-288.812,-1.032),(-288.282,-1.562),(-287.754,-2.288),(-287.414,-2.957),(-287.172,-3.665),(-287.019,-4.55),(-287.002,-146.95),(-287.136,-147.988),(-287.414,-148.843),(-287.916,-149.763),(-288.591,-150.565),(-289.287,-151.134),(-290.207,-151.636),(-291.207,-151.945)])
P(waveguide_55, DevRec, [(-292.25,-152.55),(-293.248,-152.463),(-294.68,-152.012),(-295.548,-151.51),(-296.316,-150.866),(-296.96,-150.098),(-297.462,-149.23),(-297.913,-147.798),(-297.999,-146.8),(-296.501,-146.8),(-296.356,-147.9),(-296.102,-148.596),(-295.256,-149.806),(-294.046,-150.652),(-293.35,-150.906),(-292.25,-151.05),(-291.15,-150.906),(-290.454,-150.652),(-289.244,-149.806),(-288.398,-148.596),(-288.016,-147.171),(-288.016,-4.629),(-288.398,-3.204),(-288.995,-2.268),(-289.812,-1.518),(-291.15,-0.894),(-292.251,-0.75),(-305,-0.75),(-305,0.75),(-292.249,0.75),(-290.762,0.554),(-289.82,0.212),(-288.952,-0.29),(-287.845,-1.304),(-287.038,-2.57),(-286.696,-3.512),(-286.522,-4.499),(-286.5,-146.8),(-286.587,-147.798),(-287.038,-149.23),(-287.54,-150.098),(-288.184,-150.866),(-288.952,-151.51),(-289.82,-152.012),(-291.252,-152.463)])
waveguide_55.add(gdstk.FlexPath([(-297.25,-146.85),(-297.25,-146.75)], 0.5, ends="flush", simple_path=True, layer=1, datatype=10))  # PinRec
waveguide_55.add(gdstk.FlexPath([(-304.95,0),(-305.05,0)], 0.5, ends="flush", simple_path=True, layer=1, datatype=10))  # PinRec
waveguide_55.add(gdstk.Label('pin1', (-297.25,-146.8), layer=1, texttype=10))
waveguide_55.add(gdstk.Label('pin2', (-305,0), layer=1, texttype=10))
waveguide_55.add(gdstk.Label('cellName=Waveguide', (-297.05,-146.8), layer=68, texttype=0))
waveguide_55.add(gdstk.Label('Lumerical_INTERCONNECT_library=Design kits/EBeam', (-297.35,-146.8), layer=68, texttype=0))
waveguide_55.add(gdstk.Label('Component=ebeam_wg_integral_1550', (-297.15,-146.8), layer=68, texttype=0))
waveguide_55.add(gdstk.Label('Spice_param:wg_length=178.109u wg_width=0.500u points="[[-297.25,-146.8],[-297.25,-151.8],[-287.25,-151.8],[-287.25,0.0],[-305.0,0.0]]" radius=5.0', (-297.25,-146.8), layer=68, texttype=0))
waveguide_55.add(gdstk.Label('Length=178.109u', (-297.45,-146.8), layer=68, texttype=0))

componenttest_ybranch = lib.new_cell('ComponentTest_YBranch')
r = gdstk.Reference(ebeam_gc_te1550, (33,10.7)); r.repetition = gdstk.Repetition(1, 3, v1=(0,0), v2=(0,127)); componenttest_ybranch.add(r)
componenttest_ybranch.add(gdstk.Reference(waveguide_56, (338,264.7)))
componenttest_ybranch.add(gdstk.Reference(waveguide_54, (338,264.7)))
componenttest_ybranch.add(gdstk.Reference(ebeam_y_1550, (38,125.3), rotation=3*pi/2))
componenttest_ybranch.add(gdstk.Reference(waveguide_55, (338,264.7)))
componenttest_ybranch.add(gdstk.Label('opt_in_TE_1550_device_KevinE_Ybranch1', (33,264.7), layer=10, texttype=0))
componenttest_ybranch.add(gdstk.Label('opt_in_TE_1550_device_KevinE_Ybranch2', (33,137.7), layer=10, texttype=0))

lib.write_gds('ComponentTest_YBranch.gds')
